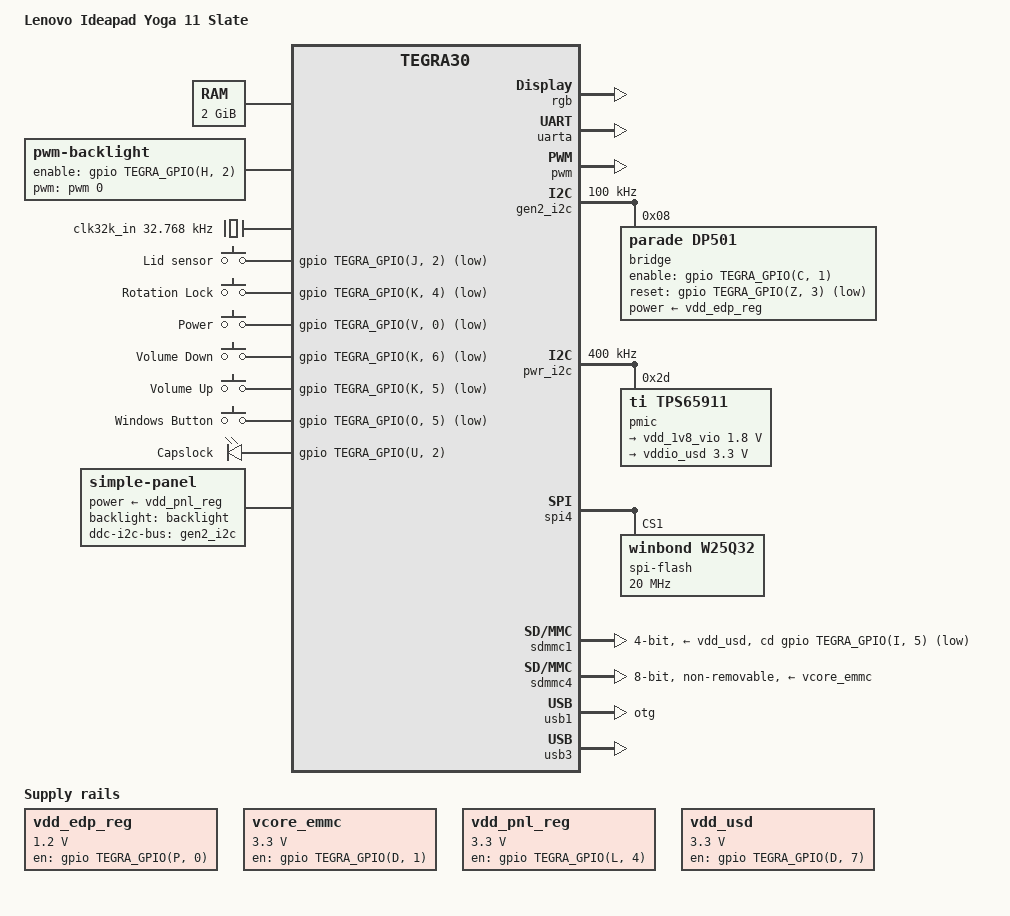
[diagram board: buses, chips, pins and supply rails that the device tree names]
// SPDX-License-Identifier: GPL-2.0
/dts-v1/;

#include <dt-bindings/input/input.h>
#include "tegra30.dtsi"

/ {
	model = "Lenovo Ideapad Yoga 11 Slate";
	compatible = "lenovo,ideapad-yoga-11", "nvidia,tegra30";

	chosen {
		stdout-path = &uarta;
	};

	aliases {
		i2c0 = &pwr_i2c;
		i2c1 = &gen2_i2c;

		mmc0 = &sdmmc4; /* eMMC */
		mmc1 = &sdmmc1; /* uSD slot */

		rtc0 = &pmic;
		rtc1 = "/rtc@7000e000";

		spi0 = &spi4;

		usb0 = &usb1;
		usb1 = &usb3;
	};

	memory {
		device_type = "memory";
		reg = <0x80000000 0x80000000>;
	};

	host1x@50000000 {
		dc@54200000 {
			rgb {
				status = "okay";

				nvidia,panel = <&bridge>;
			};
		};
	};

	pinmux@70000868 {
		pinctrl-names = "default";
		pinctrl-0 = <&state_default>;

		state_default: pinmux {
			/* SDMMC1 pinmux */
			sdmmc1-clk {
				nvidia,pins = "sdmmc1_clk_pz0";
				nvidia,function = "sdmmc1";
				nvidia,pull = <TEGRA_PIN_PULL_NONE>;
				nvidia,tristate = <TEGRA_PIN_DISABLE>;
				nvidia,enable-input = <TEGRA_PIN_ENABLE>;
			};
			sdmmc1-cmd {
				nvidia,pins = "sdmmc1_dat3_py4",
						"sdmmc1_dat2_py5",
						"sdmmc1_dat1_py6",
						"sdmmc1_dat0_py7",
						"sdmmc1_cmd_pz1";
				nvidia,function = "sdmmc1";
				nvidia,pull = <TEGRA_PIN_PULL_UP>;
				nvidia,tristate = <TEGRA_PIN_DISABLE>;
				nvidia,enable-input = <TEGRA_PIN_ENABLE>;
			};

			/* SDMMC3 pinmux */
			sdmmc3-clk {
				nvidia,pins = "sdmmc3_clk_pa6";
				nvidia,function = "sdmmc3";
				nvidia,pull = <TEGRA_PIN_PULL_NONE>;
				nvidia,tristate = <TEGRA_PIN_DISABLE>;
				nvidia,enable-input = <TEGRA_PIN_ENABLE>;
			};
			sdmmc3-cmd {
				nvidia,pins = "sdmmc3_cmd_pa7",
						"sdmmc3_dat3_pb4",
						"sdmmc3_dat2_pb5",
						"sdmmc3_dat1_pb6",
						"sdmmc3_dat0_pb7";
				nvidia,function = "sdmmc3";
				nvidia,pull = <TEGRA_PIN_PULL_UP>;
				nvidia,tristate = <TEGRA_PIN_DISABLE>;
				nvidia,enable-input = <TEGRA_PIN_ENABLE>;
			};
			sdmmc3-dat6 {
				nvidia,pins = "sdmmc3_dat6_pd3";
				nvidia,function = "sdmmc3";
				nvidia,pull = <TEGRA_PIN_PULL_UP>;
				nvidia,tristate = <TEGRA_PIN_ENABLE>;
				nvidia,enable-input = <TEGRA_PIN_ENABLE>;
			};
			sdmmc3-dat7 {
				nvidia,pins = "sdmmc3_dat7_pd4";
				nvidia,function = "spdif";
				nvidia,pull = <TEGRA_PIN_PULL_NONE>;
				nvidia,tristate = <TEGRA_PIN_DISABLE>;
				nvidia,enable-input = <TEGRA_PIN_DISABLE>;
			};

			/* SDMMC4 pinmux */
			sdmmc4-clk {
				nvidia,pins = "sdmmc4_clk_pcc4";
				nvidia,function = "sdmmc4";
				nvidia,pull = <TEGRA_PIN_PULL_NONE>;
				nvidia,tristate = <TEGRA_PIN_DISABLE>;
				nvidia,enable-input = <TEGRA_PIN_ENABLE>;
				nvidia,lock = <1>;
				nvidia,io-reset = <1>;
			};
			sdmmc4-cmd {
				nvidia,pins = "sdmmc4_cmd_pt7",
						"sdmmc4_dat0_paa0",
						"sdmmc4_dat1_paa1",
						"sdmmc4_dat2_paa2",
						"sdmmc4_dat3_paa3",
						"sdmmc4_dat4_paa4",
						"sdmmc4_dat5_paa5",
						"sdmmc4_dat6_paa6",
						"sdmmc4_dat7_paa7",
						"sdmmc4_rst_n_pcc3";
				nvidia,function = "sdmmc4";
				nvidia,pull = <TEGRA_PIN_PULL_UP>;
				nvidia,tristate = <TEGRA_PIN_DISABLE>;
				nvidia,enable-input = <TEGRA_PIN_ENABLE>;
				nvidia,lock = <1>;
				nvidia,io-reset = <1>;
			};
			cam-mclk {
				nvidia,pins = "cam_mclk_pcc0";
				nvidia,function = "vi_alt3";
				nvidia,pull = <TEGRA_PIN_PULL_NONE>;
				nvidia,tristate = <TEGRA_PIN_DISABLE>;
				nvidia,enable-input = <TEGRA_PIN_DISABLE>;
			};

			/* I2C pinmux */
			gen1-i2c {
				nvidia,pins = "gen1_i2c_scl_pc4",
						"gen1_i2c_sda_pc5";
				nvidia,function = "i2c1";
				nvidia,pull = <TEGRA_PIN_PULL_NONE>;
				nvidia,tristate = <TEGRA_PIN_DISABLE>;
				nvidia,enable-input = <TEGRA_PIN_ENABLE>;
				nvidia,open-drain = <TEGRA_PIN_ENABLE>;
				nvidia,lock = <1>;
			};
			gen2-i2c {
				nvidia,pins = "gen2_i2c_scl_pt5",
						"gen2_i2c_sda_pt6";
				nvidia,function = "i2c2";
				nvidia,pull = <TEGRA_PIN_PULL_UP>;
				nvidia,tristate = <TEGRA_PIN_DISABLE>;
				nvidia,enable-input = <TEGRA_PIN_ENABLE>;
				nvidia,open-drain = <TEGRA_PIN_ENABLE>;
				nvidia,lock = <1>;
			};
			cam-i2c {
				nvidia,pins = "cam_i2c_scl_pbb1",
						"cam_i2c_sda_pbb2";
				nvidia,function = "i2c3";
				nvidia,pull = <TEGRA_PIN_PULL_UP>;
				nvidia,tristate = <TEGRA_PIN_DISABLE>;
				nvidia,enable-input = <TEGRA_PIN_ENABLE>;
				nvidia,open-drain = <TEGRA_PIN_ENABLE>;
				nvidia,lock = <1>;
			};
			ddc-i2c {
				nvidia,pins = "ddc_scl_pv4",
						"ddc_sda_pv5";
				nvidia,function = "i2c4";
				nvidia,pull = <TEGRA_PIN_PULL_NONE>;
				nvidia,tristate = <TEGRA_PIN_DISABLE>;
				nvidia,enable-input = <TEGRA_PIN_ENABLE>;
				nvidia,lock = <1>;
			};
			pwr-i2c {
				nvidia,pins = "pwr_i2c_scl_pz6",
						"pwr_i2c_sda_pz7";
				nvidia,function = "i2cpwr";
				nvidia,pull = <TEGRA_PIN_PULL_UP>;
				nvidia,tristate = <TEGRA_PIN_DISABLE>;
				nvidia,enable-input = <TEGRA_PIN_ENABLE>;
				nvidia,open-drain = <TEGRA_PIN_ENABLE>;
				nvidia,lock = <1>;
			};

			/* HDMI pinmux */
			hdmi-cec {
				nvidia,pins = "hdmi_cec_pee3";
				nvidia,function = "cec";
				nvidia,pull = <TEGRA_PIN_PULL_NONE>;
				nvidia,tristate = <TEGRA_PIN_DISABLE>;
				nvidia,enable-input = <TEGRA_PIN_ENABLE>;
				nvidia,open-drain = <TEGRA_PIN_DISABLE>;
			};
			hdmi-int {
				nvidia,pins = "hdmi_int_pn7";
				nvidia,function = "rsvd1";
				nvidia,pull = <TEGRA_PIN_PULL_NONE>;
				nvidia,tristate = <TEGRA_PIN_DISABLE>;
				nvidia,enable-input = <TEGRA_PIN_ENABLE>;
			};

			/* UART-A */
			ulpi-data0 {
				nvidia,pins = "ulpi_data0_po1";
				nvidia,function = "uarta";
				nvidia,pull = <TEGRA_PIN_PULL_NONE>;
				nvidia,tristate = <TEGRA_PIN_DISABLE>;
				nvidia,enable-input = <TEGRA_PIN_DISABLE>;
			};
			ulpi-data1 {
				nvidia,pins = "ulpi_data1_po2";
				nvidia,function = "uarta";
				nvidia,pull = <TEGRA_PIN_PULL_DOWN>;
				nvidia,tristate = <TEGRA_PIN_ENABLE>;
				nvidia,enable-input = <TEGRA_PIN_ENABLE>;
			};
			ulpi-data2 {
				nvidia,pins = "ulpi_data2_po3";
				nvidia,function = "uarta";
				nvidia,pull = <TEGRA_PIN_PULL_UP>;
				nvidia,tristate = <TEGRA_PIN_DISABLE>;
				nvidia,enable-input = <TEGRA_PIN_ENABLE>;
			};

			/* UART-B */
			uartb-txd-rxd {
				nvidia,pins = "uart2_txd_pc2",
						"uart2_rxd_pc3";
				nvidia,function = "uartb";
				nvidia,pull = <TEGRA_PIN_PULL_UP>;
				nvidia,tristate = <TEGRA_PIN_ENABLE>;
				nvidia,enable-input = <TEGRA_PIN_ENABLE>;
			};
			uartb-cts-rts {
				nvidia,pins = "uart2_cts_n_pj5",
						"uart2_rts_n_pj6";
				nvidia,function = "gmi";
				nvidia,pull = <TEGRA_PIN_PULL_UP>;
				nvidia,tristate = <TEGRA_PIN_ENABLE>;
				nvidia,enable-input = <TEGRA_PIN_DISABLE>;
			};

			/* UART-C */
			uartc-rxd-cts {
				nvidia,pins = "uart3_cts_n_pa1",
						"uart3_rxd_pw7";
				nvidia,function = "uartc";
				nvidia,pull = <TEGRA_PIN_PULL_NONE>;
				nvidia,tristate = <TEGRA_PIN_DISABLE>;
				nvidia,enable-input = <TEGRA_PIN_ENABLE>;
			};
			uartc-txd-rts {
				nvidia,pins = "uart3_rts_n_pc0",
						"uart3_txd_pw6";
				nvidia,function = "uartc";
				nvidia,pull = <TEGRA_PIN_PULL_NONE>;
				nvidia,tristate = <TEGRA_PIN_DISABLE>;
				nvidia,enable-input = <TEGRA_PIN_DISABLE>;
			};

			/* I2S pinmux */
			dap1-fs {
				nvidia,pins = "dap1_fs_pn0";
				nvidia,function = "i2s0";
				nvidia,pull = <TEGRA_PIN_PULL_NONE>;
				nvidia,tristate = <TEGRA_PIN_DISABLE>;
				nvidia,enable-input = <TEGRA_PIN_DISABLE>;
			};
			dap1-din {
				nvidia,pins = "dap1_din_pn1",
						"dap1_dout_pn2",
						"dap1_sclk_pn3";
				nvidia,function = "i2s0";
				nvidia,pull = <TEGRA_PIN_PULL_DOWN>;
				nvidia,tristate = <TEGRA_PIN_ENABLE>;
				nvidia,enable-input = <TEGRA_PIN_ENABLE>;
			};
			dap2-fs-pa2 {
				nvidia,pins = "dap2_fs_pa2",
						"dap2_sclk_pa3",
						"dap2_din_pa4",
						"dap2_dout_pa5";
				nvidia,function = "i2s1";
				nvidia,pull = <TEGRA_PIN_PULL_NONE>;
				nvidia,tristate = <TEGRA_PIN_DISABLE>;
				nvidia,enable-input = <TEGRA_PIN_ENABLE>;
			};
			dap3-fs-pp0 {
				nvidia,pins = "dap3_fs_pp0",
						"dap3_din_pp1",
						"dap3_dout_pp2";
				nvidia,function = "i2s2";
				nvidia,pull = <TEGRA_PIN_PULL_NONE>;
				nvidia,tristate = <TEGRA_PIN_DISABLE>;
				nvidia,enable-input = <TEGRA_PIN_DISABLE>;
			};
			dap3-sclk-pp3 {
				nvidia,pins = "dap3_sclk_pp3";
				nvidia,function = "i2s2";
				nvidia,pull = <TEGRA_PIN_PULL_DOWN>;
				nvidia,tristate = <TEGRA_PIN_ENABLE>;
				nvidia,enable-input = <TEGRA_PIN_ENABLE>;
			};
			dap4-fs-pp4 {
				nvidia,pins = "dap4_fs_pp4",
						"dap4_din_pp5",
						"dap4_dout_pp6",
						"dap4_sclk_pp7";
				nvidia,function = "i2s3";
				nvidia,pull = <TEGRA_PIN_PULL_DOWN>;
				nvidia,tristate = <TEGRA_PIN_ENABLE>;
				nvidia,enable-input = <TEGRA_PIN_ENABLE>;
			};
			pbb0 {
				nvidia,pins = "pbb0", "pbb7";
				nvidia,function = "i2s4";
				nvidia,pull = <TEGRA_PIN_PULL_NONE>;
				nvidia,tristate = <TEGRA_PIN_DISABLE>;
				nvidia,enable-input = <TEGRA_PIN_DISABLE>;
			};
			pcc1 {
				nvidia,pins = "pcc1";
				nvidia,function = "i2s4";
				nvidia,pull = <TEGRA_PIN_PULL_UP>;
				nvidia,tristate = <TEGRA_PIN_ENABLE>;
				nvidia,enable-input = <TEGRA_PIN_ENABLE>;
			};
			pcc2 {
				nvidia,pins = "pcc2";
				nvidia,function = "i2s4";
				nvidia,pull = <TEGRA_PIN_PULL_DOWN>;
				nvidia,tristate = <TEGRA_PIN_ENABLE>;
				nvidia,enable-input = <TEGRA_PIN_ENABLE>;
			};

			/* PCI-e pinmux */
			pex-l2-rst-n {
				nvidia,pins = "pex_l2_rst_n_pcc6",
						"pex_l2_clkreq_n_pcc7",
						"pex_l0_prsnt_n_pdd0",
						"pex_l0_rst_n_pdd1",
						"pex_l0_clkreq_n_pdd2",
						"pex_wake_n_pdd3",
						"pex_l1_prsnt_n_pdd4",
						"pex_l1_rst_n_pdd5",
						"pex_l1_clkreq_n_pdd6",
						"pex_l2_prsnt_n_pdd7";
				nvidia,function = "pcie";
				nvidia,pull = <TEGRA_PIN_PULL_NONE>;
				nvidia,tristate = <TEGRA_PIN_ENABLE>;
				nvidia,enable-input = <TEGRA_PIN_ENABLE>;
			};

			/* SPI pinmux */
			spi1-miso-px7 {
				nvidia,pins = "spi1_miso_px7";
				nvidia,function = "spi1";
				nvidia,pull = <TEGRA_PIN_PULL_DOWN>;
				nvidia,tristate = <TEGRA_PIN_ENABLE>;
				nvidia,enable-input = <TEGRA_PIN_ENABLE>;
			};
			ulpi-clk-py0 {
				nvidia,pins = "ulpi_clk_py0",
						"ulpi_dir_py1",
						"ulpi_nxt_py2",
						"ulpi_stp_py3";
				nvidia,function = "spi1";
				nvidia,pull = <TEGRA_PIN_PULL_NONE>;
				nvidia,tristate = <TEGRA_PIN_ENABLE>;
				nvidia,enable-input = <TEGRA_PIN_ENABLE>;
			};
			ulpi-data7-po0 {
				nvidia,pins = "ulpi_data7_po0",
						"ulpi_data5_po6",
						"ulpi_data6_po7",
						"spi1_mosi_px4",
						"spi1_sck_px5";
				nvidia,function = "spi2";
				nvidia,pull = <TEGRA_PIN_PULL_UP>;
				nvidia,tristate = <TEGRA_PIN_ENABLE>;
				nvidia,enable-input = <TEGRA_PIN_ENABLE>;
			};
			ulpi-data4-po5 {
				nvidia,pins = "ulpi_data4_po5";
				nvidia,function = "spi2";
				nvidia,pull = <TEGRA_PIN_PULL_UP>;
				nvidia,tristate = <TEGRA_PIN_DISABLE>;
				nvidia,enable-input = <TEGRA_PIN_ENABLE>;
			};
			spi1-cs0-n-px6 {
				nvidia,pins = "spi1_cs0_n_px6";
				nvidia,function = "spi2";
				nvidia,pull = <TEGRA_PIN_PULL_UP>;
				nvidia,tristate = <TEGRA_PIN_DISABLE>;
				nvidia,enable-input = <TEGRA_PIN_DISABLE>;
			};
			ulpi-data3-po4 {
				nvidia,pins = "ulpi_data3_po4";
				nvidia,function = "spi3";
				nvidia,pull = <TEGRA_PIN_PULL_NONE>;
				nvidia,tristate = <TEGRA_PIN_ENABLE>;
				nvidia,enable-input = <TEGRA_PIN_ENABLE>;
			};
			spi2-cs1-n-pw2 {
				nvidia,pins = "spi2_cs1_n_pw2",
						"spi2_cs2_n_pw3";
				nvidia,function = "spi3";
				nvidia,pull = <TEGRA_PIN_PULL_NONE>;
				nvidia,tristate = <TEGRA_PIN_DISABLE>;
				nvidia,enable-input = <TEGRA_PIN_ENABLE>;
			};
			gmi-a17-pb0 {
				nvidia,pins = "gmi_a17_pb0",
						"gmi_a18_pb1",
						"gmi_a16_pj7",
						"gmi_a19_pk7";
				nvidia,function = "spi4";
				nvidia,pull = <TEGRA_PIN_PULL_NONE>;
				nvidia,tristate = <TEGRA_PIN_DISABLE>;
				nvidia,enable-input = <TEGRA_PIN_ENABLE>;
			};
			spi2-mosi-px0 {
				nvidia,pins = "spi2_mosi_px0";
				nvidia,function = "spi6";
				nvidia,pull = <TEGRA_PIN_PULL_DOWN>;
				nvidia,tristate = <TEGRA_PIN_ENABLE>;
				nvidia,enable-input = <TEGRA_PIN_ENABLE>;
			};
			spi2-miso-px1 {
				nvidia,pins = "spi2_miso_px1";
				nvidia,function = "spi6";
				nvidia,pull = <TEGRA_PIN_PULL_NONE>;
				nvidia,tristate = <TEGRA_PIN_ENABLE>;
				nvidia,enable-input = <TEGRA_PIN_ENABLE>;
			};
			spi2-sck-px2 {
				nvidia,pins = "spi2_sck_px2";
				nvidia,function = "spi6";
				nvidia,pull = <TEGRA_PIN_PULL_NONE>;
				nvidia,tristate = <TEGRA_PIN_DISABLE>;
				nvidia,enable-input = <TEGRA_PIN_DISABLE>;
			};

			/* Display A pinmux */
			lcd-pclk {
				nvidia,pins = "lcd_pclk_pb3",
						"lcd_dc1_pd2",
						"lcd_d0_pe0",
						"lcd_d1_pe1",
						"lcd_d2_pe2",
						"lcd_d3_pe3",
						"lcd_d4_pe4",
						"lcd_d5_pe5",
						"lcd_d6_pe6",
						"lcd_d7_pe7",
						"lcd_d8_pf0",
						"lcd_d9_pf1",
						"lcd_d10_pf2",
						"lcd_d11_pf3",
						"lcd_d12_pf4",
						"lcd_d13_pf5",
						"lcd_d14_pf6",
						"lcd_d15_pf7",
						"lcd_de_pj1",
						"lcd_d16_pm0",
						"lcd_d17_pm1",
						"lcd_d18_pm2",
						"lcd_d19_pm3",
						"lcd_d20_pm4",
						"lcd_d21_pm5",
						"lcd_d22_pm6",
						"lcd_d23_pm7",
						"lcd_sdout_pn5",
						"lcd_dc0_pn6",
						"lcd_m1_pw1",
						"lcd_sdin_pz2",
						"lcd_sck_pz4";
				nvidia,function = "displaya";
				nvidia,pull = <TEGRA_PIN_PULL_DOWN>;
				nvidia,tristate = <TEGRA_PIN_DISABLE>;
				nvidia,enable-input = <TEGRA_PIN_DISABLE>;
			};
			lcd-pwr0 {
				nvidia,pins = "lcd_pwr0_pb2",
						"lcd_pwr2_pc6";
				nvidia,function = "displaya";
				nvidia,pull = <TEGRA_PIN_PULL_DOWN>;
				nvidia,tristate = <TEGRA_PIN_ENABLE>;
				nvidia,enable-input = <TEGRA_PIN_DISABLE>;
			};
			lcd-pwr1 {
				nvidia,pins = "lcd_pwr1_pc1";
				nvidia,function = "displaya";
				nvidia,pull = <TEGRA_PIN_PULL_NONE>;
				nvidia,tristate = <TEGRA_PIN_DISABLE>;
				nvidia,enable-input = <TEGRA_PIN_DISABLE>;
			};
			lcd-hsync {
				nvidia,pins = "lcd_hsync_pj3",
						"lcd_vsync_pj4",
						"lcd_cs0_n_pn4",
						"lcd_cs1_n_pw0",
						"lcd_wr_n_pz3";
				nvidia,function = "displaya";
				nvidia,pull = <TEGRA_PIN_PULL_UP>;
				nvidia,tristate = <TEGRA_PIN_DISABLE>;
				nvidia,enable-input = <TEGRA_PIN_DISABLE>;
			};
			crt-hsync-pv6 {
				nvidia,pins = "crt_hsync_pv6",
						"crt_vsync_pv7";
				nvidia,function = "crt";
				nvidia,pull = <TEGRA_PIN_PULL_UP>;
				nvidia,tristate = <TEGRA_PIN_ENABLE>;
				nvidia,enable-input = <TEGRA_PIN_ENABLE>;
			};

			blink {
				nvidia,pins = "clk_32k_out_pa0";
				nvidia,function = "blink";
				nvidia,pull = <TEGRA_PIN_PULL_NONE>;
				nvidia,tristate = <TEGRA_PIN_DISABLE>;
				nvidia,enable-input = <TEGRA_PIN_DISABLE>;
			};

			/* KBC keys */
			kb-pins {
				nvidia,pins = "kb_col0_pq0",
						"kb_col1_pq1",
						"kb_col2_pq2",
						"kb_col3_pq3",
						"kb_col4_pq4",
						"kb_col5_pq5",
						"kb_col6_pq6",
						"kb_col7_pq7",
						"kb_row0_pr0",
						"kb_row1_pr1",
						"kb_row2_pr2",
						"kb_row3_pr3",
						"kb_row4_pr4",
						"kb_row5_pr5",
						"kb_row6_pr6",
						"kb_row7_pr7",
						"kb_row8_ps0",
						"kb_row9_ps1",
						"kb_row10_ps2",
						"kb_row11_ps3",
						"kb_row12_ps4",
						"kb_row13_ps5",
						"kb_row14_ps6",
						"kb_row15_ps7";
				nvidia,function = "kbc";
				nvidia,pull = <TEGRA_PIN_PULL_UP>;
				nvidia,tristate = <TEGRA_PIN_DISABLE>;
				nvidia,enable-input = <TEGRA_PIN_ENABLE>;
			};

			/* SPDIF pinmux */
			spdif-pins {
				nvidia,pins = "spdif_out_pk5",
						"spdif_in_pk6";
				nvidia,function = "spdif";
				nvidia,pull = <TEGRA_PIN_PULL_UP>;
				nvidia,tristate = <TEGRA_PIN_DISABLE>;
				nvidia,enable-input = <TEGRA_PIN_ENABLE>;
			};

			jtag-rtck {
				nvidia,pins = "jtag_rtck_pu7";
				nvidia,function = "rtck";
				nvidia,pull = <TEGRA_PIN_PULL_UP>;
				nvidia,tristate = <TEGRA_PIN_DISABLE>;
				nvidia,enable-input = <TEGRA_PIN_ENABLE>;
			};

			/* GMI pinmux */
			gmi-wp-n-pc7 {
				nvidia,pins = "gmi_wp_n_pc7";
				nvidia,function = "gmi";
				nvidia,pull = <TEGRA_PIN_PULL_UP>;
				nvidia,tristate = <TEGRA_PIN_ENABLE>;
				nvidia,enable-input = <TEGRA_PIN_ENABLE>;
			};
			sdmmc3-dat5-pd0 {
				nvidia,pins = "sdmmc3_dat5_pd0",
						"gmi_ad8_ph0";
				nvidia,function = "pwm0";
				nvidia,pull = <TEGRA_PIN_PULL_NONE>;
				nvidia,tristate = <TEGRA_PIN_DISABLE>;
				nvidia,enable-input = <TEGRA_PIN_DISABLE>;
			};
			sdmmc3-dat4-pd1 {
				nvidia,pins = "sdmmc3_dat4_pd1";
				nvidia,function = "pwm1";
				nvidia,pull = <TEGRA_PIN_PULL_NONE>;
				nvidia,tristate = <TEGRA_PIN_DISABLE>;
				nvidia,enable-input = <TEGRA_PIN_DISABLE>;
			};
			gmi-ad12-ph4 {
				nvidia,pins = "gmi_ad12_ph4",
						"gmi_cs4_n_pk2",
						"pv1";
				nvidia,function = "rsvd1";
				nvidia,pull = <TEGRA_PIN_PULL_NONE>;
				nvidia,tristate = <TEGRA_PIN_ENABLE>;
				nvidia,enable-input = <TEGRA_PIN_ENABLE>;
			};
			gmi-dqs-pi2 {
				nvidia,pins = "gmi_dqs_pi2";
				nvidia,function = "rsvd1";
				nvidia,pull = <TEGRA_PIN_PULL_DOWN>;
				nvidia,tristate = <TEGRA_PIN_ENABLE>;
				nvidia,enable-input = <TEGRA_PIN_ENABLE>;
			};
			gmi-ad13-ph5 {
				nvidia,pins = "gmi_ad13_ph5",
						"gmi_ad14_ph6",
						"pu1",
						"pu2",
						"pv2",
						"pv3";
				nvidia,function = "rsvd1";
				nvidia,pull = <TEGRA_PIN_PULL_NONE>;
				nvidia,tristate = <TEGRA_PIN_DISABLE>;
				nvidia,enable-input = <TEGRA_PIN_DISABLE>;
			};
			gmi-ad0-pg0 {
				nvidia,pins = "gmi_ad0_pg0",
						"gmi_ad1_pg1",
						"gmi_ad2_pg2",
						"gmi_ad3_pg3",
						"gmi_ad4_pg4",
						"gmi_ad5_pg5",
						"gmi_ad6_pg6",
						"gmi_ad7_pg7",
						"gmi_ad15_ph7";
				nvidia,function = "gmi";
				nvidia,pull = <TEGRA_PIN_PULL_NONE>;
				nvidia,tristate = <TEGRA_PIN_ENABLE>;
				nvidia,enable-input = <TEGRA_PIN_ENABLE>;
			};
			gmi-ad9-ph1 {
				nvidia,pins = "gmi_ad9_ph1";
				nvidia,function = "gmi";
				nvidia,pull = <TEGRA_PIN_PULL_DOWN>;
				nvidia,tristate = <TEGRA_PIN_ENABLE>;
				nvidia,enable-input = <TEGRA_PIN_ENABLE>;
			};
			gmi-ad10-ph2 {
				nvidia,pins = "gmi_ad10_ph2";
				nvidia,function = "pwm2";
				nvidia,pull = <TEGRA_PIN_PULL_NONE>;
				nvidia,tristate = <TEGRA_PIN_DISABLE>;
				nvidia,enable-input = <TEGRA_PIN_DISABLE>;
			};
			gmi-ad11-ph3 {
				nvidia,pins = "gmi_ad11_ph3";
				nvidia,function = "pwm3";
				nvidia,pull = <TEGRA_PIN_PULL_NONE>;
				nvidia,tristate = <TEGRA_PIN_DISABLE>;
				nvidia,enable-input = <TEGRA_PIN_DISABLE>;
			};
			gmi-wr-n-pi0 {
				nvidia,pins = "gmi_wr_n_pi0",
						"gmi_oe_n_pi1",
						"gmi_adv_n_pk0",
						"gmi_clk_pk1";
				nvidia,function = "gmi";
				nvidia,pull = <TEGRA_PIN_PULL_NONE>;
				nvidia,tristate = <TEGRA_PIN_DISABLE>;
				nvidia,enable-input = <TEGRA_PIN_ENABLE>;
			};
			gmi-cs6-n-pi3 {
				nvidia,pins = "gmi_cs6_n_pi3",
						"gmi_cs7_n_pi6";
				nvidia,function = "nand";
				nvidia,pull = <TEGRA_PIN_PULL_NONE>;
				nvidia,tristate = <TEGRA_PIN_DISABLE>;
				nvidia,enable-input = <TEGRA_PIN_ENABLE>;
			};
			gmi-iordy-pi5 {
				nvidia,pins = "gmi_iordy_pi5";
				nvidia,function = "rsvd1";
				nvidia,pull = <TEGRA_PIN_PULL_UP>;
				nvidia,tristate = <TEGRA_PIN_ENABLE>;
				nvidia,enable-input = <TEGRA_PIN_ENABLE>;
			};
			gmi-wait-pi7 {
				nvidia,pins = "gmi_wait_pi7";
				nvidia,function = "gmi";
				nvidia,pull = <TEGRA_PIN_PULL_UP>;
				nvidia,tristate = <TEGRA_PIN_DISABLE>;
				nvidia,enable-input = <TEGRA_PIN_ENABLE>;
			};
			gmi-cs0-n-pj0 {
				nvidia,pins = "gmi_cs0_n_pj0",
						"gmi_cs1_n_pj2",
						"gmi_cs2_n_pk3";
				nvidia,function = "rsvd1";
				nvidia,pull = <TEGRA_PIN_PULL_NONE>;
				nvidia,tristate = <TEGRA_PIN_DISABLE>;
				nvidia,enable-input = <TEGRA_PIN_ENABLE>;
			};
			gmi-cs3-n-pk4 {
				nvidia,pins = "gmi_cs3_n_pk4",
						"pv0";
				nvidia,function = "rsvd1";
				nvidia,pull = <TEGRA_PIN_PULL_UP>;
				nvidia,tristate = <TEGRA_PIN_DISABLE>;
				nvidia,enable-input = <TEGRA_PIN_ENABLE>;
			};

			/* VI pinmux */
			vi-d1-pd5 {
				nvidia,pins = "vi_d1_pd5";
				nvidia,function = "rsvd1";
				nvidia,pull = <TEGRA_PIN_PULL_NONE>;
				nvidia,tristate = <TEGRA_PIN_ENABLE>;
				nvidia,enable-input = <TEGRA_PIN_ENABLE>;
				nvidia,lock = <1>;
				nvidia,io-reset = <1>;
			};
			vi-vsync-pd6 {
				nvidia,pins = "vi_vsync_pd6",
						"vi_d7_pl5",
						"vi_d10_pt2",
						"vi_d0_pt4";
				nvidia,function = "rsvd1";
				nvidia,pull = <TEGRA_PIN_PULL_DOWN>;
				nvidia,tristate = <TEGRA_PIN_ENABLE>;
				nvidia,enable-input = <TEGRA_PIN_ENABLE>;
				nvidia,lock = <1>;
				nvidia,io-reset = <2>;
			};
			vi-hsync-pd7 {
				nvidia,pins = "vi_hsync_pd7",
						"vi_d6_pl4",
						"vi_d8_pl6",
						"vi_d9_pl7",
						"vi_pclk_pt0";
				nvidia,function = "rsvd1";
				nvidia,pull = <TEGRA_PIN_PULL_NONE>;
				nvidia,tristate = <TEGRA_PIN_DISABLE>;
				nvidia,enable-input = <TEGRA_PIN_DISABLE>;
				nvidia,lock = <1>;
				nvidia,io-reset = <1>;
			};
			vi-d2-pl0 {
				nvidia,pins = "vi_d2_pl0",
						"vi_d3_pl1",
						"vi_d4_pl2";
				nvidia,function = "rsvd1";
				nvidia,pull = <TEGRA_PIN_PULL_UP>;
				nvidia,tristate = <TEGRA_PIN_DISABLE>;
				nvidia,enable-input = <TEGRA_PIN_ENABLE>;
				nvidia,lock = <1>;
				nvidia,io-reset = <1>;
			};
			vi-mclk-pt1 {
				nvidia,pins = "vi_mclk_pt1";
				nvidia,function = "vi";
				nvidia,pull = <TEGRA_PIN_PULL_DOWN>;
				nvidia,tristate = <TEGRA_PIN_ENABLE>;
				nvidia,enable-input = <TEGRA_PIN_ENABLE>;
				nvidia,lock = <1>;
				nvidia,io-reset = <2>;
			};
			vi-d11-pt3 {
				nvidia,pins = "vi_d11_pt3";
				nvidia,function = "rsvd1";
				nvidia,pull = <TEGRA_PIN_PULL_UP>;
				nvidia,tristate = <TEGRA_PIN_ENABLE>;
				nvidia,enable-input = <TEGRA_PIN_ENABLE>;
				nvidia,lock = <1>;
				nvidia,io-reset = <1>;
			};
			vi-d5-pl3 {
				nvidia,pins = "vi_d5_pl3";
				nvidia,function = "rsvd1";
				nvidia,pull = <TEGRA_PIN_PULL_NONE>;
				nvidia,tristate = <TEGRA_PIN_DISABLE>;
				nvidia,enable-input = <TEGRA_PIN_ENABLE>;
				nvidia,lock = <1>;
				nvidia,io-reset = <1>;
			};

			/* PORT U */
			pu0 {
				nvidia,pins = "pu0";
				nvidia,function = "owr";
				nvidia,pull = <TEGRA_PIN_PULL_NONE>;
				nvidia,tristate = <TEGRA_PIN_DISABLE>;
				nvidia,enable-input = <TEGRA_PIN_DISABLE>;
			};
			pu3 {
				nvidia,pins = "pu3";
				nvidia,function = "pwm0";
				nvidia,pull = <TEGRA_PIN_PULL_UP>;
				nvidia,tristate = <TEGRA_PIN_DISABLE>;
				nvidia,enable-input = <TEGRA_PIN_DISABLE>;
			};
			pu4 {
				nvidia,pins = "pu4";
				nvidia,function = "pwm1";
				nvidia,pull = <TEGRA_PIN_PULL_UP>;
				nvidia,tristate = <TEGRA_PIN_DISABLE>;
				nvidia,enable-input = <TEGRA_PIN_DISABLE>;
			};
			pu5 {
				nvidia,pins = "pu5";
				nvidia,function = "pwm2";
				nvidia,pull = <TEGRA_PIN_PULL_NONE>;
				nvidia,tristate = <TEGRA_PIN_ENABLE>;
				nvidia,enable-input = <TEGRA_PIN_ENABLE>;
			};
			pu6 {
				nvidia,pins = "pu6";
				nvidia,function = "pwm3";
				nvidia,pull = <TEGRA_PIN_PULL_NONE>;
				nvidia,tristate = <TEGRA_PIN_ENABLE>;
				nvidia,enable-input = <TEGRA_PIN_ENABLE>;
			};

			/* PORT BB */
			pbb3 {
				nvidia,pins = "pbb3";
				nvidia,function = "vgp3";
				nvidia,pull = <TEGRA_PIN_PULL_NONE>;
				nvidia,tristate = <TEGRA_PIN_DISABLE>;
				nvidia,enable-input = <TEGRA_PIN_DISABLE>;
			};
			pbb4 {
				nvidia,pins = "pbb4";
				nvidia,function = "vgp4";
				nvidia,pull = <TEGRA_PIN_PULL_NONE>;
				nvidia,tristate = <TEGRA_PIN_DISABLE>;
				nvidia,enable-input = <TEGRA_PIN_DISABLE>;
			};
			pbb5 {
				nvidia,pins = "pbb5";
				nvidia,function = "vgp5";
				nvidia,pull = <TEGRA_PIN_PULL_NONE>;
				nvidia,tristate = <TEGRA_PIN_ENABLE>;
				nvidia,enable-input = <TEGRA_PIN_ENABLE>;
			};
			pbb6 {
				nvidia,pins = "pbb6";
				nvidia,function = "vgp6";
				nvidia,pull = <TEGRA_PIN_PULL_NONE>;
				nvidia,tristate = <TEGRA_PIN_ENABLE>;
				nvidia,enable-input = <TEGRA_PIN_ENABLE>;
			};

			/* CLK pinmux */
			clk1-out {
				nvidia,pins = "clk1_out_pw4";
				nvidia,function = "extperiph1";
				nvidia,pull = <TEGRA_PIN_PULL_NONE>;
				nvidia,tristate = <TEGRA_PIN_DISABLE>;
				nvidia,enable-input = <TEGRA_PIN_ENABLE>;
			};
			clk1-req {
				nvidia,pins = "clk1_req_pee2";
				nvidia,function = "dap";
				nvidia,pull = <TEGRA_PIN_PULL_NONE>;
				nvidia,tristate = <TEGRA_PIN_DISABLE>;
				nvidia,enable-input = <TEGRA_PIN_ENABLE>;
			};
			clk2-out {
				nvidia,pins = "clk2_out_pw5";
				nvidia,function = "extperiph2";
				nvidia,pull = <TEGRA_PIN_PULL_NONE>;
				nvidia,tristate = <TEGRA_PIN_DISABLE>;
				nvidia,enable-input = <TEGRA_PIN_ENABLE>;
			};
			clk2-req {
				nvidia,pins = "clk2_req_pcc5";
				nvidia,function = "dap";
				nvidia,pull = <TEGRA_PIN_PULL_NONE>;
				nvidia,tristate = <TEGRA_PIN_ENABLE>;
				nvidia,enable-input = <TEGRA_PIN_ENABLE>;
			};
			clk3-out {
				nvidia,pins = "clk3_out_pee0";
				nvidia,function = "extperiph3";
				nvidia,pull = <TEGRA_PIN_PULL_NONE>;
				nvidia,tristate = <TEGRA_PIN_DISABLE>;
				nvidia,enable-input = <TEGRA_PIN_ENABLE>;
			};
			clk3-req {
				nvidia,pins = "clk3_req_pee1";
				nvidia,function = "dev3";
				nvidia,pull = <TEGRA_PIN_PULL_NONE>;
				nvidia,tristate = <TEGRA_PIN_DISABLE>;
				nvidia,enable-input = <TEGRA_PIN_ENABLE>;
			};
			sys-clk-req {
				nvidia,pins = "sys_clk_req_pz5";
				nvidia,function = "sysclk";
				nvidia,pull = <TEGRA_PIN_PULL_NONE>;
				nvidia,tristate = <TEGRA_PIN_DISABLE>;
				nvidia,enable-input = <TEGRA_PIN_ENABLE>;
			};

			owr {
				nvidia,pins = "owr";
				nvidia,function = "owr";
				nvidia,pull = <TEGRA_PIN_PULL_UP>;
				nvidia,tristate = <TEGRA_PIN_DISABLE>;
				nvidia,enable-input = <TEGRA_PIN_ENABLE>;
			};

			/* GPIO power/drive control */
			drive-sdio1 {
				nvidia,pins = "drive_sdio1",
						"drive_sdio3";
				nvidia,high-speed-mode = <TEGRA_PIN_DISABLE>;
				nvidia,schmitt = <TEGRA_PIN_DISABLE>;
				nvidia,pull-down-strength = <46>;
				nvidia,pull-up-strength = <42>;
				nvidia,slew-rate-rising = <TEGRA_PIN_SLEW_RATE_FAST>;
				nvidia,slew-rate-falling = <TEGRA_PIN_SLEW_RATE_FAST>;
			};
		};
	};

	uarta: serial@70006000 {
		status = "okay";
	};

	pwm: pwm@7000a000 {
		status = "okay";
	};

	gen2_i2c: i2c@7000c400 {
		status = "okay";
		clock-frequency = <100000>;

		bridge: dp501@8 {
			compatible = "parade,dp501";
			reg = <0x08>;

			enable-gpios = <&gpio TEGRA_GPIO(C, 1) GPIO_ACTIVE_HIGH>;
			reset-gpios = <&gpio TEGRA_GPIO(Z, 3) GPIO_ACTIVE_LOW>;

			power-supply = <&vdd_edp_reg>;

			panel = <&panel>;
		};
	};

	pwr_i2c: i2c@7000d000 {
		status = "okay";
		clock-frequency = <400000>;

		/* Texas Instruments TPS659110 PMIC */
		pmic: tps65911@2d {
			compatible = "ti,tps65911";
			reg = <0x2d>;

			interrupts = <GIC_SPI 86 IRQ_TYPE_LEVEL_HIGH>;
			#interrupt-cells = <2>;
			interrupt-controller;

			ti,system-power-controller;

			#gpio-cells = <2>;
			gpio-controller;

			regulators {
				vdd_1v8_vio: vddio {
					regulator-name = "vdd_1v8_gen";
					regulator-min-microvolt = <1800000>;
					regulator-max-microvolt = <1800000>;
					regulator-always-on;
					regulator-boot-on;
				};

				vddio_usd: ldo3 {
					regulator-name = "vddio_usd";
					regulator-min-microvolt = <3300000>;
					regulator-max-microvolt = <3300000>;
					regulator-always-on;
					regulator-boot-on;
				};
			};
		};
	};

	spi4: spi@7000da00 {
		status = "okay";
		spi-max-frequency = <25000000>;

		spi-flash@1 {
			compatible = "winbond,w25q32", "jedec,spi-nor";
			reg = <1>;
			spi-max-frequency = <20000000>;
		};
	};

	kbc@7000e200 {
		status = "okay";
		nvidia,debounce-delay-ms = <2>;
		nvidia,repeat-delay-ms = <160>;
		nvidia,kbc-row-pins = <0 1 2 3 4 5 6 7 8 9 10 11 12 13 14 15>;
		nvidia,kbc-col-pins = <16 17 18 19 20 21 22 23>;

		linux,keymap = <
			MATRIX_KEY(0x00, 0x01, KEY_TAB)
			MATRIX_KEY(0x00, 0x02, KEY_GRAVE)
			MATRIX_KEY(0x00, 0x03, KEY_1)
			MATRIX_KEY(0x00, 0x04, KEY_Q)
			MATRIX_KEY(0x00, 0x05, KEY_A)

			MATRIX_KEY(0x01, 0x06, KEY_RIGHTALT)
			MATRIX_KEY(0x01, 0x07, KEY_LEFTALT)

			MATRIX_KEY(0x02, 0x00, KEY_F3)
			MATRIX_KEY(0x02, 0x01, KEY_F4)
			MATRIX_KEY(0x02, 0x02, KEY_CAPSLOCK)
			MATRIX_KEY(0x02, 0x03, KEY_3)
			MATRIX_KEY(0x02, 0x04, KEY_E)
			MATRIX_KEY(0x02, 0x05, KEY_D)
			MATRIX_KEY(0x02, 0x06, KEY_C)
			MATRIX_KEY(0x02, 0x07, KEY_SPACE)

			MATRIX_KEY(0x03, 0x00, KEY_F2)
			MATRIX_KEY(0x03, 0x01, KEY_F1)
			MATRIX_KEY(0x03, 0x02, KEY_ESC)
			MATRIX_KEY(0x03, 0x03, KEY_2)
			MATRIX_KEY(0x03, 0x04, KEY_W)
			MATRIX_KEY(0x03, 0x05, KEY_S)
			MATRIX_KEY(0x03, 0x06, KEY_X)
			MATRIX_KEY(0x03, 0x07, KEY_Z)

			MATRIX_KEY(0x04, 0x00, KEY_LEFTCTRL)

			MATRIX_KEY(0x05, 0x00, KEY_G)
			MATRIX_KEY(0x05, 0x01, KEY_T)
			MATRIX_KEY(0x05, 0x02, KEY_5)
			MATRIX_KEY(0x05, 0x03, KEY_4)
			MATRIX_KEY(0x05, 0x04, KEY_R)
			MATRIX_KEY(0x05, 0x05, KEY_F)
			MATRIX_KEY(0x05, 0x06, KEY_V)
			MATRIX_KEY(0x05, 0x07, KEY_B)

			MATRIX_KEY(0x06, 0x00, KEY_H)
			MATRIX_KEY(0x06, 0x01, KEY_Y)
			MATRIX_KEY(0x06, 0x02, KEY_6)
			MATRIX_KEY(0x06, 0x03, KEY_7)
			MATRIX_KEY(0x06, 0x04, KEY_U)
			MATRIX_KEY(0x06, 0x05, KEY_J)
			MATRIX_KEY(0x06, 0x06, KEY_M)
			MATRIX_KEY(0x06, 0x07, KEY_N)

			MATRIX_KEY(0x07, 0x01, KEY_F11)
			MATRIX_KEY(0x07, 0x02, KEY_F10)
			MATRIX_KEY(0x07, 0x03, KEY_9)
			MATRIX_KEY(0x07, 0x04, KEY_O)
			MATRIX_KEY(0x07, 0x05, KEY_L)
			MATRIX_KEY(0x07, 0x06, KEY_DOT)
			MATRIX_KEY(0x07, 0x07, KEY_DOWN)

			MATRIX_KEY(0x08, 0x04, KEY_RIGHTSHIFT)
			MATRIX_KEY(0x08, 0x05, KEY_LEFTSHIFT)

			MATRIX_KEY(0x09, 0x00, KEY_F7)
			MATRIX_KEY(0x09, 0x01, KEY_F6)
			MATRIX_KEY(0x09, 0x02, KEY_F5)
			MATRIX_KEY(0x09, 0x03, KEY_8)
			MATRIX_KEY(0x09, 0x04, KEY_I)
			MATRIX_KEY(0x09, 0x05, KEY_K)
			MATRIX_KEY(0x09, 0x06, KEY_COMMA)

			MATRIX_KEY(0x0A, 0x00, KEY_F8)
			MATRIX_KEY(0x0A, 0x01, KEY_F9)
			MATRIX_KEY(0x0A, 0x02, KEY_BACKSLASH)
			MATRIX_KEY(0x0A, 0x03, KEY_102ND)
			MATRIX_KEY(0x0A, 0x04, KEY_COMPOSE)
			MATRIX_KEY(0x0A, 0x05, KEY_LEFT)

			MATRIX_KEY(0x0B, 0x00, KEY_RIGHTCTRL)
			MATRIX_KEY(0x0B, 0x03, KEY_FN)

			MATRIX_KEY(0x0C, 0x02, KEY_LEFTMETA)

			MATRIX_KEY(0x0D, 0x00, KEY_MINUS)
			MATRIX_KEY(0x0D, 0x02, KEY_0)
			MATRIX_KEY(0x0D, 0x03, KEY_P)
			MATRIX_KEY(0x0D, 0x04, KEY_LEFTBRACE)
			MATRIX_KEY(0x0D, 0x05, KEY_SEMICOLON)
			MATRIX_KEY(0x0D, 0x06, KEY_SLASH)
			MATRIX_KEY(0x0D, 0x07, KEY_UP)

			MATRIX_KEY(0x0E, 0x01, KEY_PRINT)
			MATRIX_KEY(0x0E, 0x02, KEY_EQUAL)
			MATRIX_KEY(0x0E, 0x03, KEY_BACKSPACE)
			MATRIX_KEY(0x0E, 0x04, KEY_RIGHTBRACE)
			MATRIX_KEY(0x0E, 0x06, KEY_APOSTROPHE)
			MATRIX_KEY(0x0E, 0x07, KEY_ENTER)

			MATRIX_KEY(0x0F, 0x02, KEY_DELETE)
			MATRIX_KEY(0x0F, 0x03, KEY_PAGEUP)
			MATRIX_KEY(0x0F, 0x04, KEY_INSERT)
			MATRIX_KEY(0x0F, 0x05, KEY_F12)
			MATRIX_KEY(0x0F, 0x06, KEY_PAGEDOWN)
			MATRIX_KEY(0x0F, 0x07, KEY_RIGHT)
		>;
	};

	sdmmc1: sdhci@78000000 {
		status = "okay";
		bus-width = <4>;

		cd-gpios = <&gpio TEGRA_GPIO(I, 5) GPIO_ACTIVE_LOW>;

		vmmc-supply = <&vdd_usd>;
		vqmmc-supply = <&vddio_usd>;
	};

	sdmmc4: sdhci@78000600 {
		status = "okay";
		bus-width = <8>;
		non-removable;

		vmmc-supply = <&vcore_emmc>;
		vqmmc-supply = <&vdd_1v8_vio>;
	};

	/* LEFT */
	usb1: usb@7d000000 {
		status = "okay";
		dr_mode = "otg";
		nvidia,vbus-gpio = <&gpio TEGRA_GPIO(V, 3) GPIO_ACTIVE_HIGH>;
	};

	/* RIGHT */
	usb3: usb@7d008000 {
		status = "okay";
		nvidia,vbus-gpio = <&gpio TEGRA_GPIO(V, 2) GPIO_ACTIVE_HIGH>;
	};

	backlight: backlight {
		compatible = "pwm-backlight";

		enable-gpios = <&gpio TEGRA_GPIO(H, 2) GPIO_ACTIVE_HIGH>;
		pwms = <&pwm 0 4000000>;

		brightness-levels = <1 35 70 105 140 175 210 255>;
		default-brightness-level = <5>;
	};

	clk32k_in: clock-32k {
		compatible = "fixed-clock";
		#clock-cells = <0>;
		clock-frequency = <32768>;
		clock-output-names = "ref-oscillator";
	};

	extcon-keys {
		compatible = "gpio-keys";

		switch-hall-sensor {
			label = "Lid sensor";
			gpios = <&gpio TEGRA_GPIO(J, 2) GPIO_ACTIVE_LOW>;
			linux,code = <SW_LID>;
		};

		switch-rotation-lock {
			label = "Rotation Lock";
			gpios = <&gpio TEGRA_GPIO(K, 4) GPIO_ACTIVE_LOW>;
			linux,code = <SW_ROTATE_LOCK>;
		};
	};

	gpio-keys {
		compatible = "gpio-keys";

		key-power {
			label = "Power";
			gpios = <&gpio TEGRA_GPIO(V, 0) GPIO_ACTIVE_LOW>;
			linux,code = <KEY_ENTER>;
		};

		key-volume-down {
			label = "Volume Down";
			gpios = <&gpio TEGRA_GPIO(K, 6) GPIO_ACTIVE_LOW>;
			linux,code = <KEY_DOWN>;
		};

		key-volume-up {
			label = "Volume Up";
			gpios = <&gpio TEGRA_GPIO(K, 5) GPIO_ACTIVE_LOW>;
			linux,code = <KEY_UP>;
		};

		key-windows-button {
			label = "Windows Button";
			gpios = <&gpio TEGRA_GPIO(O, 5) GPIO_ACTIVE_LOW>;
			linux,code = <KEY_ENTER>;
		};
	};

	leds {
		compatible = "gpio-leds";

		led-capslock {
			label = "Capslock";
			gpios = <&gpio TEGRA_GPIO(U, 2) GPIO_ACTIVE_HIGH>;
			linux,default-trigger = "kbd-capslock";
			default-state = "off";
		};
	};

	panel: panel {
		compatible = "simple-panel";

		power-supply = <&vdd_pnl_reg>;
		ddc-i2c-bus = <&gen2_i2c>;

		backlight = <&backlight>;
	};

	vdd_edp_reg: regulator-edp {
		compatible = "regulator-fixed";
		regulator-name = "vdd_edp";
		regulator-min-microvolt = <1200000>;
		regulator-max-microvolt = <1200000>;
		gpio = <&gpio TEGRA_GPIO(P, 0) GPIO_ACTIVE_HIGH>;
		enable-active-high;
	};

	vcore_emmc: regulator-emmc {
		compatible = "regulator-fixed";
		regulator-name = "vdd_emmc_core";
		regulator-min-microvolt = <3300000>;
		regulator-max-microvolt = <3300000>;
		gpio = <&gpio TEGRA_GPIO(D, 1) GPIO_ACTIVE_HIGH>;
		enable-active-high;
	};

	vdd_pnl_reg: regulator-pnl {
		compatible = "regulator-fixed";
		regulator-name = "vdd_panel";
		regulator-min-microvolt = <3300000>;
		regulator-max-microvolt = <3300000>;
		gpio = <&gpio TEGRA_GPIO(L, 4) GPIO_ACTIVE_HIGH>;
		enable-active-high;
	};

	vdd_usd: regulator-usd {
		compatible = "regulator-fixed";
		regulator-name = "vdd_usd";
		regulator-min-microvolt = <3300000>;
		regulator-max-microvolt = <3300000>;
		gpio = <&gpio TEGRA_GPIO(D, 7) GPIO_ACTIVE_HIGH>;
		enable-active-high;
	};
};
